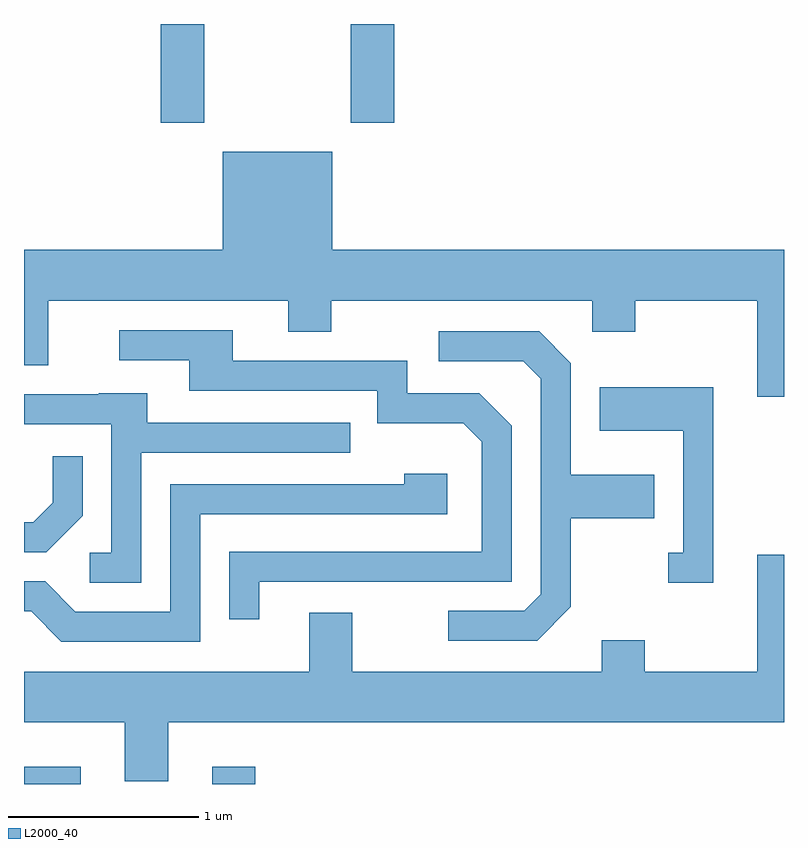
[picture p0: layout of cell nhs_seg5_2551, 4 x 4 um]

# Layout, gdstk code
import gdstk
lib = gdstk.Library(unit=1e-6, precision=1e-09)
def R(c, l, rs):  # rectangles x0, y0, x1, y1
    for r in rs: c.add(gdstk.rectangle(r[:2], r[2:], *l))
def P(c, l, *ps):  # polygons
    for p in ps: c.add(gdstk.Polygon(p, *l))
L2000_40 = (2000, 40)

nhs_seg5_2551 = lib.new_cell('nhs_seg5_2551')
R(nhs_seg5_2551, L2000_40, [(261.611,1412.072,261.909,1412.164), (262.601,1412.072,262.829,1412.164), (262.331,1415.551,262.559,1416.072), (263.331,1415.551,263.559,1416.072)])
P(nhs_seg5_2551, L2000_40, [(263.001,1414.451),(263.229,1414.451),(263.229,1414.616),(264.601,1414.616),(264.601,1414.451),(264.829,1414.451),(264.829,1414.616),(265.471,1414.616),(265.471,1414.111),(265.611,1414.111),(265.611,1414.884),(263.234,1414.884),(263.234,1415.399),(262.656,1415.399),(262.656,1414.884),(261.611,1414.884),(261.611,1414.276),(261.739,1414.276),(261.739,1414.616),(263.001,1414.616)],
  [(262.849,1413.136),(264.179,1413.136),(264.179,1413.957),(264.007,1414.129),(263.629,1414.129),(263.629,1414.299),(262.709,1414.299),(262.709,1414.459),(262.113,1414.459),(262.113,1414.301),(262.481,1414.301),(262.481,1414.141),(263.471,1414.141),(263.471,1413.971),(263.924,1413.971),(264.021,1413.874),(264.021,1413.294),(262.691,1413.294),(262.691,1412.938),(262.849,1412.938)],
  [(264.489,1413.004),(264.489,1413.471),(264.929,1413.471),(264.929,1413.699),(264.489,1413.699),(264.489,1414.287),(264.322,1414.454),(263.793,1414.454),(263.793,1414.296),(264.239,1414.296),(264.331,1414.204),(264.331,1413.072),(264.244,1412.984),(263.843,1412.984),(263.843,1412.826),(264.312,1412.826)],
  [(265.239,1414.159),(264.641,1414.159),(264.641,1413.931),(265.081,1413.931),(265.081,1413.289),(265.003,1413.289),(265.003,1413.131),(265.239,1413.131)],
  [(262.229,1413.816),(263.328,1413.816),(263.328,1413.974),(262.259,1413.974),(262.259,1414.129),(262.005,1414.129),(262.005,1414.124),(261.611,1414.124),(261.611,1413.966),(262.071,1413.966),(262.071,1413.289),(261.957,1413.289),(261.957,1413.131),(262.229,1413.131)],
  [(261.919,1413.484),(261.919,1413.798),(261.761,1413.798),(261.761,1413.552),(261.659,1413.449),(261.611,1413.449),(261.611,1413.291),(261.727,1413.291)],
  [(262.539,1413.491),(263.839,1413.491),(263.839,1413.704),(263.611,1413.704),(263.611,1413.649),(262.381,1413.649),(262.381,1412.979),(261.882,1412.979),(261.722,1413.139),(261.611,1413.139),(261.611,1412.981),(261.649,1412.981),(261.808,1412.821),(262.539,1412.821)],
  [(262.369,1412.396),(265.611,1412.396),(265.611,1413.279),(265.471,1413.279),(265.471,1412.664),(264.879,1412.664),(264.879,1412.829),(264.651,1412.829),(264.651,1412.664),(263.339,1412.664),(263.339,1412.974),(263.111,1412.974),(263.111,1412.664),(261.611,1412.664),(261.611,1412.396),(262.141,1412.396),(262.141,1412.086),(262.369,1412.086)])

lib.write_gds('nhs_seg5_2551.gds')
